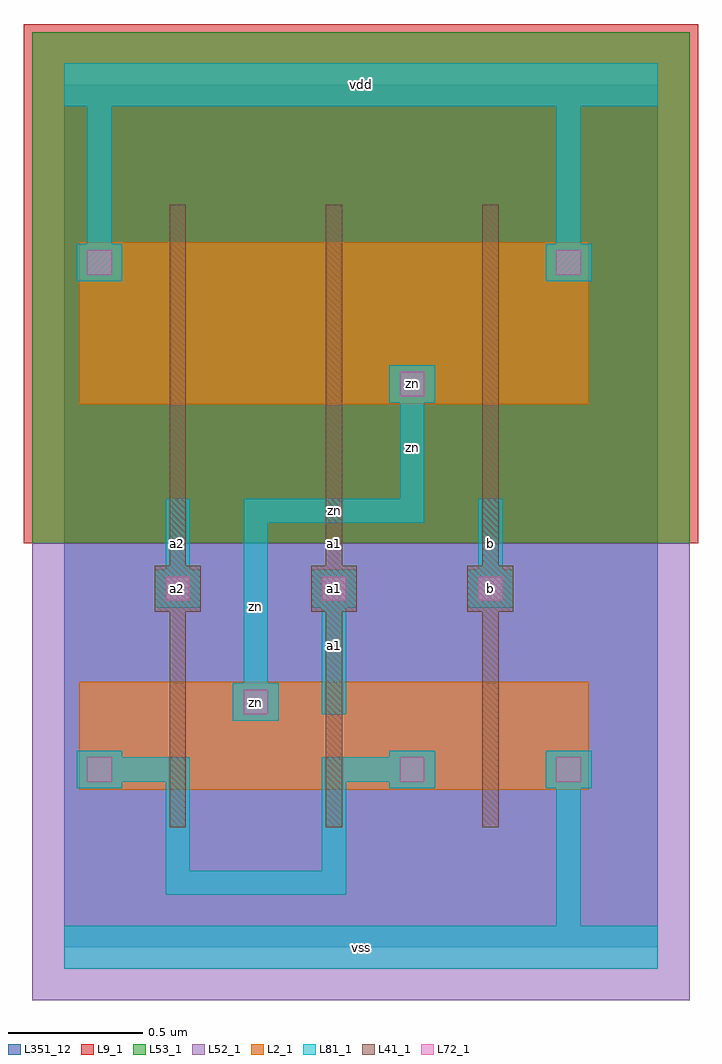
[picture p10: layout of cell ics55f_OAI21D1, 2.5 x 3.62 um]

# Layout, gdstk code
import gdstk
lib = gdstk.Library(unit=1e-6, precision=1e-09)
def R(c, l, rs):  # rectangles x0, y0, x1, y1
    for r in rs: c.add(gdstk.rectangle(r[:2], r[2:], *l))
def A(c, l, x, y, w, h, nx, ny, dx, dy):  # array of equal rectangles
    R(c, l, [(x+i*dx, y+j*dy, x+i*dx+w, y+j*dy+h) for i in range(nx) for j in range(ny)])
def P(c, l, *ps):  # polygons
    for p in ps: c.add(gdstk.Polygon(p, *l))
L0_0 = (0, 0)
L2_1 = (2, 1)
L9_1 = (9, 1)
L41_1 = (41, 1)
L52_1 = (52, 1)
L53_1 = (53, 1)
L72_1 = (72, 1)
L81_1 = (81, 1)
L351_12 = (351, 12)

ics55f_oai21d1 = lib.new_cell('ics55f_OAI21D1')
A(ics55f_oai21d1, L2_1, 0.055, 0.585, 0.73, 0.4, 3, 1, 0.58, 0)
A(ics55f_oai21d1, L2_1, 0.055, 2.015, 0.73, 0.6, 3, 1, 0.58, 0)
R(ics55f_oai21d1, L2_1, [(0.055,0.585,0.205,0.735), (1.215,0.585,1.365,0.735), (1.795,0.585,1.945,0.735), (0.635,0.835,0.785,0.985), (1.215,2.015,1.365,2.165), (0.055,2.465,0.205,2.615), (1.795,2.465,1.945,2.615)])
R(ics55f_oai21d1, L9_1, [(-0.15,1.5,2.35,3.425)])
A(ics55f_oai21d1, L41_1, 0.39, 0.445, 0.06, 0.68, 3, 1, 0.58, 0)
A(ics55f_oai21d1, L41_1, 0.39, 0.88, 0.06, 1.24, 3, 1, 0.58, 0)
A(ics55f_oai21d1, L41_1, 0.335, 1.245, 0.17, 0.17, 3, 1, 0.58, 0)
A(ics55f_oai21d1, L41_1, 0.39, 1.875, 0.06, 0.88, 3, 1, 0.58, 0)
R(ics55f_oai21d1, L52_1, [(-0.12,-0.195,2.32,1.5)])
R(ics55f_oai21d1, L53_1, [(-0.12,1.5,2.32,3.395)])
A(ics55f_oai21d1, L72_1, 0.375, 1.285, 0.09, 0.09, 3, 1, 0.58, 0)
R(ics55f_oai21d1, L72_1, [(0.085,0.615,0.175,0.705), (1.245,0.615,1.335,0.705), (1.825,0.615,1.915,0.705), (0.665,0.865,0.755,0.955), (1.245,2.045,1.335,2.135), (0.085,2.495,0.175,2.585), (1.825,2.495,1.915,2.585)])
P(ics55f_oai21d1, L81_1, [(0.375,0.195),(0.375,0.615),(0.215,0.615),(0.215,0.59),(0.045,0.59),(0.045,0.73),(0.215,0.73),(0.215,0.705),(0.465,0.705),(0.465,0.285),(0.955,0.285),(0.955,0.705),(1.205,0.705),(1.205,0.73),(1.375,0.73),(1.375,0.59),(1.205,0.59),(1.205,0.615),(1.045,0.615),(1.045,0.195)],
  [(0,-0.08),(0,0.08),(1.825,0.08),(1.825,0.59),(1.785,0.59),(1.785,0.73),(1.955,0.73),(1.955,0.59),(1.915,0.59),(1.915,0.08),(2.2,0.08),(2.2,-0.08)],
  [(0.955,0.865),(0.955,1.26),(0.915,1.26),(0.915,1.4),(1.085,1.4),(1.085,1.26),(1.045,1.26),(1.045,0.865)],
  [(0.335,1.26),(0.335,1.4),(0.375,1.4),(0.375,1.665),(0.465,1.665),(0.465,1.4),(0.505,1.4),(0.505,1.26)],
  [(1.495,1.26),(1.495,1.4),(1.535,1.4),(1.535,1.665),(1.625,1.665),(1.625,1.4),(1.665,1.4),(1.665,1.26)],
  [(0.625,0.84),(0.625,0.98),(0.665,0.98),(0.665,1.665),(1.245,1.665),(1.245,2.02),(1.205,2.02),(1.205,2.16),(1.375,2.16),(1.375,2.02),(1.335,2.02),(1.335,1.575),(0.755,1.575),(0.755,0.98),(0.795,0.98),(0.795,0.84)],
  [(0.045,2.47),(0.045,2.61),(0.085,2.61),(0.085,3.12),(0,3.12),(0,3.28),(2.2,3.28),(2.2,3.12),(1.915,3.12),(1.915,2.61),(1.955,2.61),(1.955,2.47),(1.785,2.47),(1.785,2.61),(1.825,2.61),(1.825,3.12),(0.175,3.12),(0.175,2.61),(0.215,2.61),(0.215,2.47)])
R(ics55f_oai21d1, L351_12, [(0,0,2.2,3.2)])
ics55f_oai21d1.add(gdstk.FlexPath([(0.045,0.24),(1.955,0.24)], 0, ends="flush", simple_path=True, layer=0, datatype=0))  # L0_0
ics55f_oai21d1.add(gdstk.FlexPath([(0.045,0.66),(1.955,0.66)], 0, ends="flush", simple_path=True, layer=0, datatype=0))  # L0_0
ics55f_oai21d1.add(gdstk.FlexPath([(0.045,0.91),(1.955,0.91)], 0, ends="flush", simple_path=True, layer=0, datatype=0))  # L0_0
ics55f_oai21d1.add(gdstk.FlexPath([(0.045,1.33),(1.955,1.33)], 0, ends="flush", simple_path=True, layer=0, datatype=0))  # L0_0
ics55f_oai21d1.add(gdstk.FlexPath([(0.045,1.62),(1.955,1.62)], 0, ends="flush", simple_path=True, layer=0, datatype=0))  # L0_0
ics55f_oai21d1.add(gdstk.FlexPath([(0.045,2.09),(1.955,2.09)], 0, ends="flush", simple_path=True, layer=0, datatype=0))  # L0_0
ics55f_oai21d1.add(gdstk.FlexPath([(0.045,2.54),(1.955,2.54)], 0, ends="flush", simple_path=True, layer=0, datatype=0))  # L0_0
ics55f_oai21d1.add(gdstk.FlexPath([(0.045,2.96),(1.955,2.96)], 0, ends="flush", simple_path=True, layer=0, datatype=0))  # L0_0
ics55f_oai21d1.add(gdstk.FlexPath([(0.13,0.03),(0.13,3.17)], 0, ends="flush", simple_path=True, layer=0, datatype=0))  # L0_0
ics55f_oai21d1.add(gdstk.FlexPath([(0.42,0.03),(0.42,3.17)], 0, ends="flush", simple_path=True, layer=0, datatype=0))  # L0_0
ics55f_oai21d1.add(gdstk.FlexPath([(0.71,0.03),(0.71,3.17)], 0, ends="flush", simple_path=True, layer=0, datatype=0))  # L0_0
ics55f_oai21d1.add(gdstk.FlexPath([(1,0.03),(1,3.17)], 0, ends="flush", simple_path=True, layer=0, datatype=0))  # L0_0
ics55f_oai21d1.add(gdstk.FlexPath([(1.29,0.03),(1.29,3.17)], 0, ends="flush", simple_path=True, layer=0, datatype=0))  # L0_0
ics55f_oai21d1.add(gdstk.FlexPath([(1.58,0.03),(1.58,3.17)], 0, ends="flush", simple_path=True, layer=0, datatype=0))  # L0_0
ics55f_oai21d1.add(gdstk.FlexPath([(1.87,0.03),(1.87,3.17)], 0, ends="flush", simple_path=True, layer=0, datatype=0))  # L0_0
ics55f_oai21d1.add(gdstk.Label('zn', (0.71,0.91), layer=2, texttype=1))
ics55f_oai21d1.add(gdstk.Label('zn', (1.29,2.09), layer=2, texttype=1))
ics55f_oai21d1.add(gdstk.Label('a1', (1,1.5), layer=41, texttype=1))
ics55f_oai21d1.add(gdstk.Label('a1', (1,1.33), layer=41, texttype=1))
ics55f_oai21d1.add(gdstk.Label('a2', (0.42,1.5), layer=41, texttype=1))
ics55f_oai21d1.add(gdstk.Label('a2', (0.42,1.33), layer=41, texttype=1))
ics55f_oai21d1.add(gdstk.Label('b', (1.58,1.5), layer=41, texttype=1))
ics55f_oai21d1.add(gdstk.Label('b', (1.58,1.33), layer=41, texttype=1))
ics55f_oai21d1.add(gdstk.Label('zn', (0.71,0.91), layer=72, texttype=1))
ics55f_oai21d1.add(gdstk.Label('zn', (1.29,2.09), layer=72, texttype=1))
ics55f_oai21d1.add(gdstk.Label('a1', (1,1.33), layer=72, texttype=1))
ics55f_oai21d1.add(gdstk.Label('a2', (0.42,1.33), layer=72, texttype=1))
ics55f_oai21d1.add(gdstk.Label('b', (1.58,1.33), layer=72, texttype=1))
ics55f_oai21d1.add(gdstk.Label('zn', (0.71,0.91), layer=81, texttype=6))
ics55f_oai21d1.add(gdstk.Label('zn', (1.29,2.09), layer=81, texttype=6))
ics55f_oai21d1.add(gdstk.Label('zn', (0.71,1.265), layer=81, texttype=6))
ics55f_oai21d1.add(gdstk.Label('zn', (1,1.62), layer=81, texttype=6))
ics55f_oai21d1.add(gdstk.Label('zn', (1.29,1.855), layer=81, texttype=6))
ics55f_oai21d1.add(gdstk.Label('a1', (1,1.33), layer=81, texttype=6))
ics55f_oai21d1.add(gdstk.Label('a1', (1,1.12), layer=81, texttype=6))
ics55f_oai21d1.add(gdstk.Label('a2', (0.42,1.33), layer=81, texttype=6))
ics55f_oai21d1.add(gdstk.Label('a2', (0.42,1.475), layer=81, texttype=6))
ics55f_oai21d1.add(gdstk.Label('b', (1.58,1.33), layer=81, texttype=6))
ics55f_oai21d1.add(gdstk.Label('b', (1.58,1.475), layer=81, texttype=6))
ics55f_oai21d1.add(gdstk.Label('vss', (1.1,0), layer=81, texttype=6))
ics55f_oai21d1.add(gdstk.Label('vdd', (1.1,3.2), layer=81, texttype=6))

lib.write_gds('ics55f_OAI21D1.gds')
